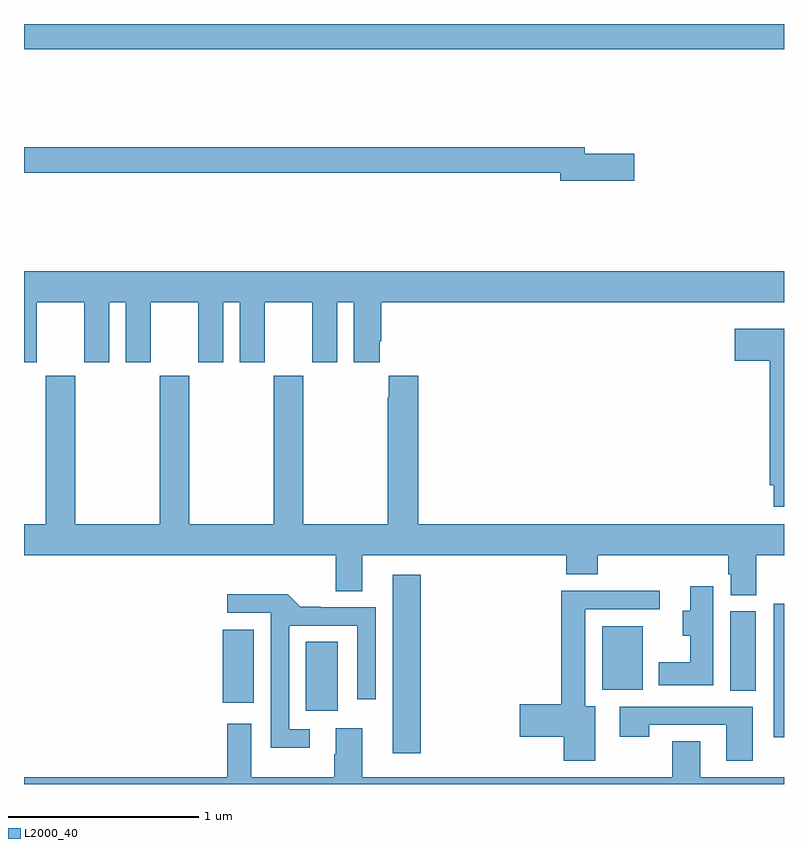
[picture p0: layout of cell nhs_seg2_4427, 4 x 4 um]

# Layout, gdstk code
import gdstk
lib = gdstk.Library(unit=1e-6, precision=1e-09)
def R(c, l, rs):  # rectangles x0, y0, x1, y1
    for r in rs: c.add(gdstk.rectangle(r[:2], r[2:], *l))
def P(c, l, *ps):  # polygons
    for p in ps: c.add(gdstk.Polygon(p, *l))
L2000_40 = (2000, 40)

nhs_seg2_4427 = lib.new_cell('nhs_seg2_4427')
R(nhs_seg2_4427, L2000_40, [(352.94,611.961,353.087,612.901), (354.945,612.047,355,612.748), (352.484,612.186,352.651,612.548), (352.046,612.227,352.21,612.613), (354.716,612.292,354.85,612.708), (354.044,612.296,354.256,612.631), (351,615.668,355,615.8)])
P(nhs_seg2_4427, L2000_40, [(354.211,615.116),(353.95,615.116),(353.95,615.152),(351,615.152),(351,615.016),(353.822,615.016),(353.822,614.974),(354.211,614.974)],
  [(351.067,614.336),(351.317,614.336),(351.317,614.019),(351.448,614.019),(351.448,614.336),(351.536,614.336),(351.536,614.019),(351.667,614.019),(351.667,614.336),(351.917,614.336),(351.917,614.019),(352.048,614.019),(352.048,614.336),(352.136,614.336),(352.136,614.019),(352.267,614.019),(352.267,614.336),(352.517,614.336),(352.517,614.019),(352.648,614.019),(352.648,614.336),(352.736,614.336),(352.736,614.019),(352.873,614.019),(352.873,614.131),(352.88,614.131),(352.88,614.336),(355,614.336),(355,614.5),(351,614.5),(351,614.019),(351.067,614.019)],
  [(355,614.197),(354.741,614.197),(354.741,614.027),(354.925,614.027),(354.925,613.372),(354.945,613.372),(354.945,613.26),(355,613.26)],
  [(354.855,613.004),(355,613.004),(355,613.168),(353.075,613.168),(353.075,613.948),(352.919,613.948),(352.919,613.835),(352.915,613.835),(352.915,613.168),(352.47,613.168),(352.47,613.948),(352.315,613.948),(352.315,613.168),(351.87,613.168),(351.87,613.948),(351.715,613.948),(351.715,613.168),(351.27,613.168),(351.27,613.948),(351.115,613.948),(351.115,613.168),(351,613.168),(351,613.004),(352.64,613.004),(352.64,612.814),(352.78,612.814),(352.78,613.004),(353.855,613.004),(353.855,612.905),(354.02,612.905),(354.02,613.004),(354.707,613.004),(354.707,612.903),(354.719,612.903),(354.719,612.793),(354.855,612.793)],
  [(354.628,612.841),(354.506,612.841),(354.506,612.711),(354.467,612.711),(354.467,612.581),(354.506,612.581),(354.506,612.442),(354.341,612.442),(354.341,612.32),(354.628,612.32)],
  [(354.007,612.208),(353.953,612.208),(353.953,612.72),(354.346,612.72),(354.346,612.818),(353.828,612.818),(353.828,612.221),(353.61,612.221),(353.61,612.05),(353.84,612.05),(353.84,611.922),(354.007,611.922)],
  [(352.504,612.087),(352.395,612.087),(352.395,612.633),(352.755,612.633),(352.755,612.246),(352.851,612.246),(352.851,612.729),(352.561,612.729),(352.561,612.734),(352.453,612.734),(352.388,612.8),(352.071,612.8),(352.071,612.702),(352.299,612.702),(352.299,611.99),(352.504,611.99)],
  [(354.835,612.207),(354.135,612.207),(354.135,612.048),(354.291,612.048),(354.291,612.111),(354.695,612.111),(354.695,611.922),(354.835,611.922)],
  [(355,611.836),(354.559,611.836),(354.559,612.026),(354.412,612.026),(354.412,611.836),(352.78,611.836),(352.78,612.094),(352.64,612.094),(352.64,611.957),(352.633,611.957),(352.633,611.836),(352.195,611.836),(352.195,612.118),(352.07,612.118),(352.07,611.836),(351,611.836),(351,611.8),(355,611.8)])

lib.write_gds('nhs_seg2_4427.gds')
